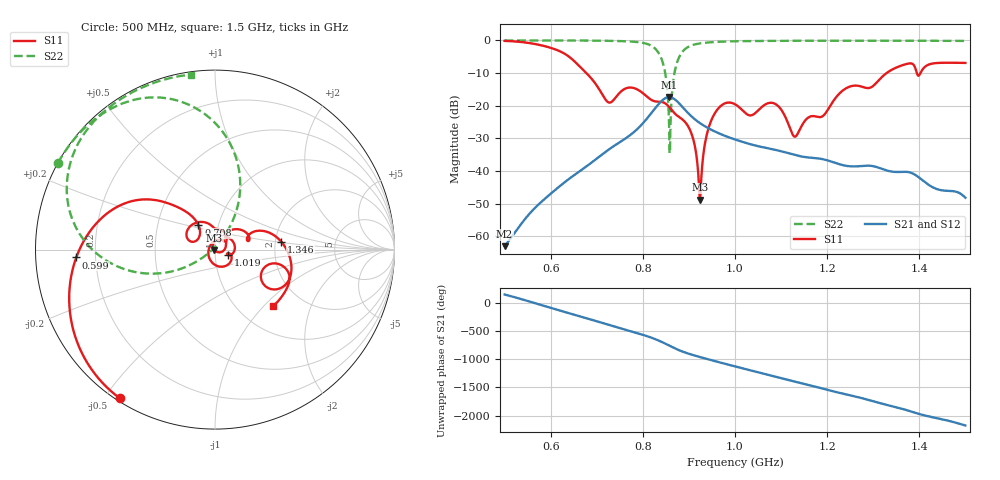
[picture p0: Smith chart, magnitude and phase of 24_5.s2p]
! TOUCHSTONE file generated by CST MICROWAVE STUDIO
! Date and time: Fri Oct  2 19:14:25 2020
! Project name: Scenario_1_Free_Space_out_of_line.cst
! Parameters = {Lambda=346.42; Step_1=17.321; dy1=-51.203; dx1=866; L_HA=400; MT=2.54; Rad_Dielectric=30; Rad_Lower=7.3; Rad_Upper=30; a_HA=580; a_WG=246; b_HA=500; b_WG=121; c_HA=0; c_WG=187; d_feed=85; h_feed=15; h_lower=18; h_upper=40}
! Header version: 2018
! Port assignment regex: !\s*Touchstone port\s*([0-9]+)\s*=\s*(CST MWS port|CST DS port)\s*([0-9]+|Zmin|Zmax)\s*\(\"(.*)\"\)(\s*mode\s*([0-9]+))?.*
! Touchstone port assignment:
! Touchstone port 1 = CST MWS port 1 ("")
! Touchstone port 2 = CST MWS port 2 ("")
# GHz S DB R 50
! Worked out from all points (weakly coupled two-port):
!   1003 points, 500 MHz to 1.5 GHz, reference 50 ohm
!   highest |S21| = -17.36 dB at 857 MHz (marker M1); lowest = -63.0 dB at 500 MHz (marker M2)
!   lowest |S11| = -48.8 dB at 924 MHz (marker M3), VSWR 1.01, Z = 49.7 - j0.213 ohm
!   |S11| at or under -10 dB: 677.4 MHz to 1.329 GHz (651.6 MHz wide, 64.9 % of centre); 1.395 GHz to 1.402 GHz (7.719 MHz wide, 0.552 % of centre)
!   |S22| runs from -34.6 to 0.0 dB; largest |S21 - S12| = 6.2e-05
!   S11 on the Smith chart (normalised r, x): 500 MHz: 0.01, -0.55; 599 MHz: 0.13, -0.03; 708 MHz: 0.80, +0.23; 1.019 GHz: 1.16, -0.07; 1.346 GHz: 2.16, +0.21; 1.5 GHz: 1.43, -1.13
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0.5  -0.15 -122.7  -63.05 143.7  -63.05 143.7  -0.01 151.1
0.599  -2.22 -176.8  -47.10 -89.8  -47.10 -89.8  -0.02 144.2
0.667  -8.53 135.9  -39.67 108.3  -39.67 108.3  -0.04 138.3
0.708  -15.61 124.0  -35.34 12.0  -35.34 12.0  -0.08 133.7
0.728  -19.06 146.7  -33.24 -36.7  -33.24 -36.7  -0.13 131.0
0.786  -14.88 122.5  -27.42 -175.2  -27.42 -175.2  -0.46 118.3
0.834  -18.77 83.0  -19.55 50.7  -19.55 50.7  -3.78 85.5
0.848  -19.23 63.1  -17.76 -2.1  -17.76 -2.1  -9.62 65.5
0.857  -20.38 48.5  -17.36 -38.8  -17.36 -38.8  -26.09 59.1
0.878  -23.39 25.3  -19.17 -119.5  -19.17 -119.5  -5.35 -169.4
0.906  -28.73 -22.3  -23.32 160.0  -23.32 160.0  -1.51 164.9
0.924  -48.82 -143.7  -25.35 117.4  -25.35 117.4  -0.90 156.4
0.937  -29.99 108.9  -26.49 88.1  -26.49 88.1  -0.68 152.1
0.951  -23.72 78.1  -27.54 57.2  -27.54 57.2  -0.52 148.6
1  -19.56 -7.7  -30.35 -47.8  -30.35 -47.8  -0.26 140.1
1.019  -21.80 -22.7  -31.21 -87.8  -31.21 -87.8  -0.22 137.7
1.086  -19.36 -59.1  -33.48 133.0  -33.48 133.0  -0.13 130.9
1.13  -29.49 156.3  -35.09 41.8  -35.09 41.8  -0.11 127.1
1.167  -23.20 46.8  -35.96 -31.8  -35.96 -31.8  -0.10 124.1
1.334  -9.51 14.3  -40.02 -18.3  -40.02 -18.3  -0.09 111.4
1.346  -8.57 6.6  -40.29 -42.2  -40.29 -42.2  -0.09 110.4
1.5  -6.89 -44.2  -48.21 -13.2  -48.15 -14.1  -0.14 97.8
